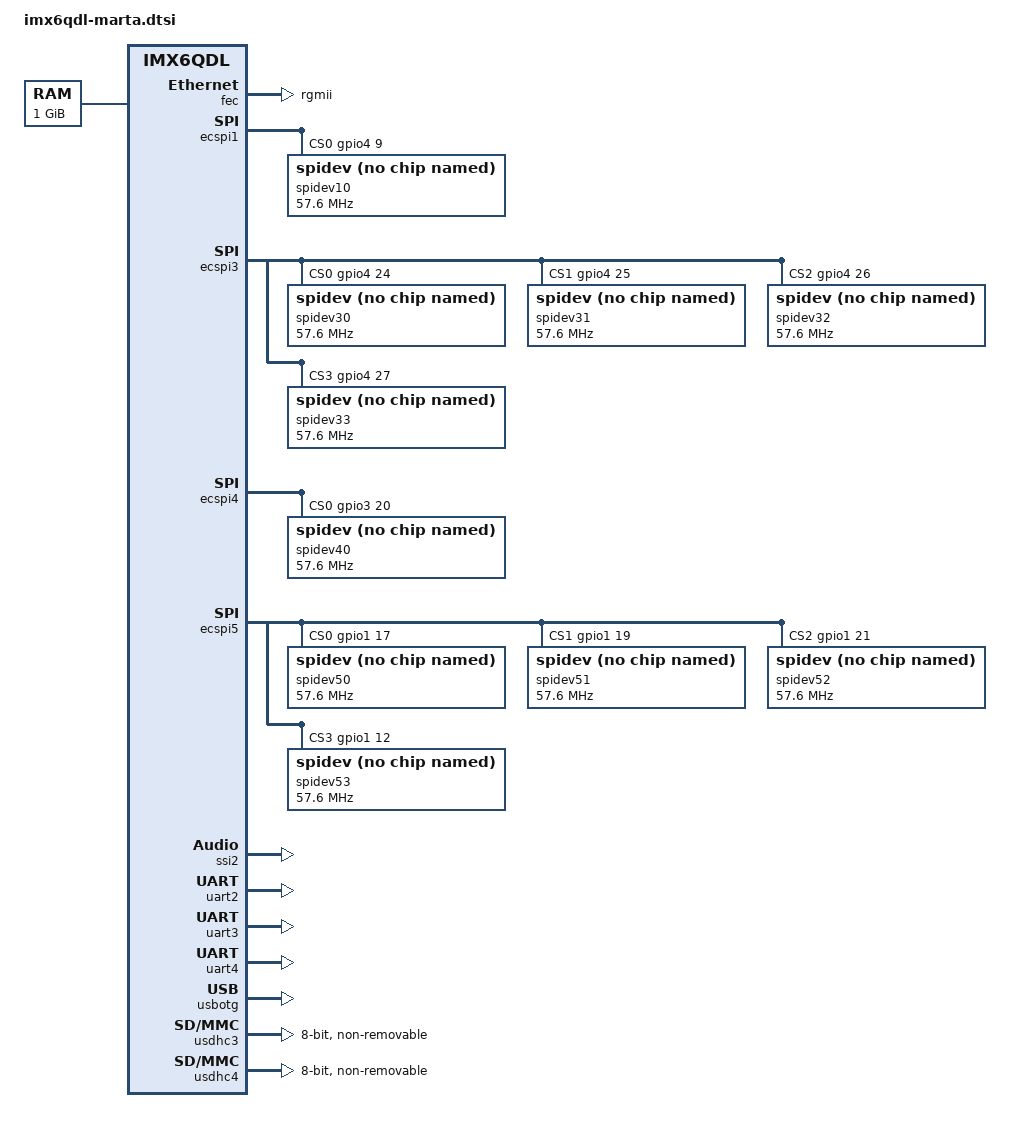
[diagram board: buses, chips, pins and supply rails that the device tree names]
/*
 * Copyright 2012 Freescale Semiconductor, Inc.
 * Copyright 2011 Linaro Ltd.
 *
 * The code contained herein is licensed under the GNU General Public
 * License. You may obtain a copy of the GNU General Public License
 * Version 2 or later at the following locations:
 *
 * http://www.opensource.org/licenses/gpl-license.html
 * http://www.gnu.org/copyleft/gpl.html
 */

/ {
	aliases {
		//mxcfb0 = &mxcfb1;
		//mxcfb1 = &mxcfb2;
		//mxcfb2 = &mxcfb3;
		//mxcfb3 = &mxcfb4;
		ecspi1 = &ecspi1;
		ecspi3 = &ecspi3;
		ecspi4 = &ecspi4;
		ecspi5 = &ecspi5;
	};

	memory {
		reg = <0x10000000 0x40000000>;
	};

//	regulators {
//		compatible = "simple-bus";
//		
//		reg_usb_h1_vbus: usb_h1_vbus {
//			compatible = "regulator-fixed";
//			regulator-name = "usb_h1_vbus";
//			regulator-min-microvolt = <5000000>;
//			regulator-max-microvolt = <5000000>;
//			gpio = <&gpio1 29 0>;
//			enable-active-high;
//		};
//
//		reg_audio: wm8962_supply {
//			compatible = "regulator-fixed";
//			regulator-name = "wm8962-supply";
//			gpio = <&gpio4 10 0>;
//			enable-active-high;
//		};
//
//		reg_mipi_dsi_pwr_on: mipi_dsi_pwr_on {
//			compatible = "regulator-fixed";
//			regulator-name = "mipi_dsi_pwr_on";
//			gpio = <&gpio6 14 0>;
//			enable-active-high;
//		};
//
//		reg_sensor: sensor_supply {
//			compatible = "regulator-fixed";
//			regulator-name = "sensor-supply";
//			regulator-min-microvolt = <3300000>;
//			regulator-max-microvolt = <3300000>;
//			gpio = <&gpio2 31 0>;
//			startup-delay-us = <500>;
//			enable-active-high;
//		};
//	};

	//mxcfb1: fb@0 {
		//compatible = "fsl,mxc_sdc_fb";
		//disp_dev = "ldb";
		//interface_pix_fmt = "RGB666";
		//mode_str ="LDBXGA";
		//default_bpp = <16>;
		//int_clk = <0>;
		//late_init = <0>;
		//status = "disabled";
	//};
	
	//mxcfb2: fb@1 {
		//compatible = "fsl,mxc_sdc_fb";
		//disp_dev = "ldb";
		//interface_pix_fmt = "RGB666";
		//mode_str ="LDBXGA";
		//default_bpp = <16>;
		//int_clk = <0>;
		//late_init = <0>;
		//status = "disabled";
	//};

	//mxcfb3: fb@2 {
		//compatible = "fsl,mxc_sdc_fb";
		//disp_dev = "hdmi";
		//interface_pix_fmt = "RGB24";
		//mode_str ="1920x1080@60p";
		//default_bpp = <32>;
		//int_clk = <0>;
		//late_init = <0>;
		//status = "disabled";
	//};

	//mxcfb4: fb@3 {
		//compatible = "fsl,mxc_sdc_fb";
		//disp_dev = "lcd";
		//interface_pix_fmt = "RGB565";
		//mode_str ="CLAA-WVGA";
		//default_bpp = <16>;
		//int_clk = <0>;
		//late_init = <0>;
		//status = "disabled";
	//};
	
	//pwm-backlight1 {
		//compatible = "pwm-backlight";
		//pwms = <&pwm1 0 5000000>;
		//brightness-levels = <0 4 8 16 32 64 128 255>;
		//default-brightness-level = <7>;
	//};
	
	//pwm-backlight2 {
		//compatible = "pwm-backlight";
		//pwms = <&pwm2 0 5000000>;
		//brightness-levels = <0 4 8 16 32 64 128 255>;
		//default-brightness-level = <7>;
	//};

	//pwm-backlight3 {
		//compatible = "pwm-backlight";
		//pwms = <&pwm3 0 5000000>;
		//brightness-levels = <0 4 8 16 32 64 128 255>;
		//default-brightness-level = <7>;
	//};

	//pwm-backlight4 {
		//compatible = "pwm-backlight";
		//pwms = <&pwm4 0 5000000>;
		//brightness-levels = <0 4 8 16 32 64 128 255>;
		//default-brightness-level = <7>;
	//};


	//v4l2_cap_0 {
		//compatible = "fsl,imx6q-v4l2-capture";
		//ipu_id = <0>;
		//csi_id = <0>;
		//mclk_source = <0>;
		//status = "okay";
	//};

	//v4l2_out {
		//compatible = "fsl,mxc_v4l2_output";
		//status = "okay";
	//};

//	mipi_dsi_reset: mipi-dsi-reset {
//		compatible = "gpio-reset";
//		reset-gpios = <&gpio6 11 GPIO_ACTIVE_LOW>;
//		reset-delay-us = <50>;
//		#reset-cells = <0>;
//	};
};

//&audmux {
//        pinctrl-names = "default";
//        pinctrl-0 = <&pinctrl_audmux_1>;
//        status = "okay";
//};

&cpu0 {
	arm-supply = <&sw1a_reg>;
	soc-supply = <&sw1c_reg>;
	pu-supply = <&pu_dummy>; /* use pu_dummy if VDDSOC share with VDDPU */
};

&fec {
	pinctrl-names = "default";
	pinctrl-0 = <&pinctrl_enet_1>;
	phy-mode = "rgmii";
	//phy-reset-gpios = <&gpio1 25 0>;
	//local-mac-address = [00 04 9F 01 1B B9];
	status = "okay";
};

&gpc {
	fsl,cpu_pupscr_sw2iso = <0xf>;
	fsl,cpu_pupscr_sw = <0xf>;
	fsl,cpu_pdnscr_iso2sw = <0x1>;
	fsl,cpu_pdnscr_iso = <0x1>;
	fsl,ldo-bypass = <1>; /* use ldo-bypass, u-boot will check it and configure */
	fsl,wdog-reset = <2>; /* watchdog select of reset source */
	pu-supply = <&pu_dummy>; /* ldo-bypass:use pu_dummy if VDDSOC share with VDDPU */
};

&gpu {
	pu-supply = <&pu_dummy>; /* ldo-bypass:use pu_dummy if VDDSOC share with VDDPU */
};

//&hdmi_audio {
	//status = "disabled";
//};

//&hdmi_cec {
	//pinctrl-names = "default";
	//pinctrl-0 = <&pinctrl_hdmi_cec_1>;
	//status = "disabled";
//};

//&hdmi_core {
	//ipu_id = <0>;
	//disp_id = <1>;
	//status = "disabled";
//};

//&hdmi_video {
	//fsl,phy_reg_vlev = <0x0294>;
	//fsl,phy_reg_cksymtx = <0x800d>;
	//status = "disabled";
//};

//&i2c1 {
	//clock-frequency = <100000>;
	//pinctrl-names = "default";
	//pinctrl-0 = <&pinctrl_i2c1_1>;
	//status = "disabled";
//};

//&i2c2 {
	//clock-frequency = <100000>;
	//pinctrl-names = "default";
	//pinctrl-0 = <&pinctrl_i2c2_1>;

	//status = "okay";
	
	//TODO: check it
	//hdmi: edid@50 {
		//compatible = "fsl,imx6-hdmi-i2c";
		//reg = <0x50>;
		//status = "disabled";
	//};
	
	//camera: adv7180@21 {
		//compatible = "adv,adv7180";
		//reg = <0x21>;
		//pinctrl-names = "default";
        //pinctrl-0 = <&pinctrl_ipu1_1>;
		//clocks = <&clks 201>;
        //clock-names = "csi_mclk";
        //pwn-gpios = <&gpio1 16 1>;   /* active low: SD1_DAT0 */
        //rst-gpios = <&gpio1 20 0>;   /* active high: SD1_CLK */
        //csi_id = <0>;
        //mclk = <24000000>;
        //mclk_source = <0>;
        //cvbs = <1>;
	//};

	//bq32000: rtc@68 {
		//compatible = "ti,bq32000";
		//trickle-resistor-ohms = <1120>;
		//reg = <0x68>;
	//};
//};


//&i2c3 {
//        clock-frequency = <100000>;
//        pinctrl-names = "default";
//		pinctrl-0 = <&pinctrl_i2c3_1>;
//        status = "okay";
//};

&ecspi1 {
  fsl,spi-num-chipselects = <1>;
  cs-gpios = <&gpio4 9 0>;	//active high
  pinctrl-names = "default";
  pinctrl-0 = <&pinctrl_ecspi1_1>;
  status = "okay";
  spidev10@0 {
        compatible = "spidev";
        spi-max-frequency = <57600000>;
         reg = <0>;
        };
};

&ecspi3 {
  fsl,spi-num-chipselects = <4>;
  cs-gpios = <&gpio4 24 0>, <&gpio4 25 0>, <&gpio4 26 0>, <&gpio4 27 0>;
  pinctrl-names = "default";
  pinctrl-0 = <&pinctrl_ecspi3_1>;
  status = "okay";
  spidev30@0 {
        compatible = "spidev";
        spi-max-frequency = <57600000>;
         reg = <0>;
        };
  spidev31@0 {
        compatible = "spidev";
        spi-max-frequency = <57600000>;
         reg = <1>;
        };
   spidev32@0 {
        compatible = "spidev";
        spi-max-frequency = <57600000>;
         reg = <2>;
        };
   spidev33@0 {
        compatible = "spidev";
        spi-max-frequency = <57600000>;
         reg = <3>;
        };
};

&ecspi4 {
  fsl,spi-num-chipselects = <1>;
  cs-gpios = <&gpio3 20 0>;	//active high
  pinctrl-names = "default";
  pinctrl-0 = <&pinctrl_ecspi4_1>;
  status = "okay";
  spidev40@0 {
        compatible = "spidev";
        spi-max-frequency = <57600000>;
         reg = <0>;
        };
};

&ecspi5 {
  fsl,spi-num-chipselects = <4>;
  cs-gpios = <&gpio1 17 0>, <&gpio1 19 0>, <&gpio1 21 0>, <&gpio1 12 0>;
  pinctrl-names = "default";
  pinctrl-0 = <&pinctrl_ecspi5_1>;
  status = "okay";
  spidev50@0 {
        compatible = "spidev";
        spi-max-frequency = <57600000>;
         reg = <0>;
        };
  spidev51@0 {
        compatible = "spidev";
        spi-max-frequency = <57600000>;
         reg = <1>;
        };
   spidev52@0 {
        compatible = "spidev";
        spi-max-frequency = <57600000>;
         reg = <2>;
        };
   spidev53@0 {
        compatible = "spidev";
        spi-max-frequency = <57600000>;
         reg = <3>;
        };
};

&iomuxc {
	pinctrl-names = "default";
	pinctrl-0 = <&pinctrl_hog_1>;

	hog {
		pinctrl_hog_1: hoggrp-1 {
			fsl,pins = <
				//GPIO OUTPUT
				MX6QDL_PAD_EIM_LBA__GPIO2_IO27 0x4001F0B0 //SPARE_1_OUT_CPU - 59
				MX6QDL_PAD_EIM_RW__GPIO2_IO26  0x4001F0B0 //SPARE_2_OUT_CPU - 58
				MX6QDL_PAD_EIM_A23__GPIO6_IO06 0x4001F0B0 //SPARE_3_OUT_CPU - 166
				MX6QDL_PAD_EIM_A16__GPIO2_IO22 0x4001F0B0 //EASAU_CPU - 54
				MX6QDL_PAD_EIM_A17__GPIO2_IO21 0x4001F0B0 //EEO_CPU - 53
				MX6QDL_PAD_EIM_A18__GPIO2_IO20 0x4001F0B0 //ESS_CPU - 52
				MX6QDL_PAD_EIM_A19__GPIO2_IO19 0x4001F0B0 //EPA_CPU - 51
				MX6QDL_PAD_EIM_A20__GPIO2_IO18 0x4001F0B0 //EDB_CPU - 50
				MX6QDL_PAD_EIM_A21__GPIO2_IO17 0x4001F0B0 //EFB_CPU - 49
				MX6QDL_PAD_EIM_A22__GPIO2_IO16 0x4001F0B0 //EAB_CPU - 48
				MX6QDL_PAD_EIM_A24__GPIO5_IO04 0x4001F0B0 //INH_SORVOLO_CPU - 132
				MX6QDL_PAD_EIM_EB2__GPIO2_IO30 0x4001F0B0 //EBT_CPU - 62
				MX6QDL_PAD_EIM_EB3__GPIO2_IO31 0x4001F0B0 //INH_G_SWITCH_CPU - 63
				MX6QDL_PAD_EIM_WAIT__GPIO5_IO00 0x4001F0B0 //BIT_L_CPU - 128
				MX6QDL_PAD_EIM_EB0__GPIO2_IO28 0x4001F0B0 //EBT_SK_CPU - 60
				MX6QDL_PAD_DI0_DISP_CLK__GPIO4_IO16	0x4001F0B0 //SKR_PWR_CTR_CPU - 112
				MX6QDL_PAD_DISP0_DAT8__GPIO4_IO29 0x4001F0B0 //CMD_CONSENSOFUOCO_CPU - 125
				MX6QDL_PAD_DISP0_DAT9__GPIO4_IO30 0x4001F0B0 //CMD_FMP_INT_CPU - 126
				MX6QDL_PAD_DISP0_DAT11__GPIO5_IO05 0x4001F0B0 //SENS_D00_CPU - 133
				MX6QDL_PAD_DISP0_DAT12__GPIO5_IO06 0x4001F0B0 //SENS_D01_CPU - 134
				MX6QDL_PAD_DISP0_DAT16__GPIO5_IO10 0x4001F0B0 //ID_00_CPU - 138
				MX6QDL_PAD_DISP0_DAT17__GPIO5_IO11 0x4001F0B0 //ID_01_CPU - 139
				MX6QDL_PAD_KEY_ROW2__GPIO4_IO11 0x4001F0B0 //TFUEL_RANGE_SLC - 107
				MX6QDL_PAD_GPIO_0__GPIO1_IO00 0x4001F0B0 //MAINT_SK_CPU - 0
				MX6QDL_PAD_GPIO_9__GPIO1_IO09 0x4001F0B0 //SEL_ANT_CPU - 9
				MX6QDL_PAD_GPIO_16__GPIO7_IO11 0x4001F0B0 //RESET_L_CPU - 203
				MX6QDL_PAD_GPIO_17__GPIO7_IO12 0x4001F0B0 //CMD_SPIRA_CPU - 204
				MX6QDL_PAD_NANDF_WP_B__GPIO6_IO09 0x4001F0B0 //IMX6_SPARE_LED - 169
				MX6QDL_PAD_NANDF_D4__GPIO2_IO04 0x4001F0B0 //SAFE_SPOLETTA_CPU - 36
				MX6QDL_PAD_NANDF_D5__GPIO2_IO05 0x4001F0B0 //ENABLE_DL_CPU - 37
				MX6QDL_PAD_NANDF_D6__GPIO2_IO06 0x4001F0B0 //ESA_CPU - 38
				MX6QDL_PAD_NANDF_D7__GPIO2_IO07 0x4001F0B0 //ESF_CPU - 39
				MX6QDL_PAD_SD2_DAT1__GPIO1_IO14 0x4001F0B0 //OK_CPU - 14
				MX6QDL_PAD_SD2_DAT2__GPIO1_IO13 0x4001F0B0 //GO_SW_CPU - 13
				
				MX6QDL_PAD_CSI0_DAT19__GPIO6_IO05 0x4001F0B0 //IT_SL_1 - 165
				MX6QDL_PAD_DISP0_DAT21__GPIO5_IO15 0x4001F0B0 //IT_SL_2 143
				MX6QDL_PAD_DISP0_DAT22__GPIO5_IO16 0x4001F0B0 //IT_SL_3 - 144
				MX6QDL_PAD_DISP0_DAT23__GPIO5_IO17 0x4001F0B0 //IT_SL_4 - 145
				MX6QDL_PAD_ENET_RX_ER__GPIO1_IO24 0x4001F0B0 //IT_SL_5 - 24
				MX6QDL_PAD_ENET_TX_EN__GPIO1_IO28 0x4001F0B0 //IT_SL_6 - 28
				MX6QDL_PAD_ENET_RXD0__GPIO1_IO27 0x4001F0B0 //IT_SL_7 - 27
				MX6QDL_PAD_ENET_TXD0__GPIO1_IO30 0x4001F0B0 //IT_SL_8 - 30
				MX6QDL_PAD_ENET_TXD1__GPIO1_IO29 0x4001F0B0 //IT_SL_10 - 29
				MX6QDL_PAD_GPIO_5__GPIO1_IO05 0x4001F0B0 //ARM_EVENTI - 5
				MX6QDL_PAD_CSI0_PIXCLK__GPIO5_IO18 0x4001F0B0 //ARM_EVENTO - 146
				MX6QDL_PAD_CSI0_MCLK__GPIO5_IO19 0x4001F0B0 //ARM_TRACE_CTL - 147
				MX6QDL_PAD_CSI0_DATA_EN__GPIO5_IO20 0x4001F0B0 //ARM_TRACE_CLK - 148
				MX6QDL_PAD_CSI0_VSYNC__GPIO5_IO21 0x4001F0B0 //ARM_TRACE_00 - 149
				MX6QDL_PAD_CSI0_DAT4__GPIO5_IO22 0x4001F0B0 //ARM_TRACE_01 - 150
				MX6QDL_PAD_CSI0_DAT5__GPIO5_IO23 0x4001F0B0 //ARM_TRACE_02 - 151
				MX6QDL_PAD_CSI0_DAT6__GPIO5_IO24 0x4001F0B0 //ARM_TRACE_03 - 152
				MX6QDL_PAD_CSI0_DAT7__GPIO5_IO25 0x4001F0B0 //ARM_TRACE_04 - 153
				MX6QDL_PAD_CSI0_DAT8__GPIO5_IO26 0x4001F0B0 //ARM_TRACE_05 - 154
				MX6QDL_PAD_CSI0_DAT9__GPIO5_IO27 0x4001F0B0 //ARM_TRACE_06 - 155
				MX6QDL_PAD_CSI0_DAT10__GPIO5_IO28 0x4001F0B0 //ARM_TRACE_07 - 156
				MX6QDL_PAD_CSI0_DAT11__GPIO5_IO29 0x4001F0B0 //ARM_TRACE_08 - 157
				MX6QDL_PAD_CSI0_DAT12__GPIO5_IO30 0x4001F0B0 //ARM_TRACE_09 - 158
				MX6QDL_PAD_CSI0_DAT13__GPIO5_IO31 0x4001F0B0 //ARM_TRACE_10 - 159
				MX6QDL_PAD_CSI0_DAT14__GPIO6_IO00 0x4001F0B0 //ARM_TRACE_11 - 160
				MX6QDL_PAD_CSI0_DAT15__GPIO6_IO01 0x4001F0B0 //ARM_TRACE_12 - 161
				MX6QDL_PAD_CSI0_DAT16__GPIO6_IO02 0x4001F0B0 //ARM_TRACE_13 - 162
				MX6QDL_PAD_CSI0_DAT17__GPIO6_IO03 0x4001F0B0 //ARM_TRACE_14 - 163
				MX6QDL_PAD_CSI0_DAT18__GPIO6_IO04 0x4001F0B0 //ARM_TRACE_15 - 164
				MX6QDL_PAD_KEY_ROW3__GPIO4_IO13 0x4001F0B0 //SPARE1_ARTIX7 - 109
				MX6QDL_PAD_NANDF_CS0__GPIO6_IO11  0x4001F0B0 //SPARE2_ARTIX7 - 171
				
			
				//GPIO INPUT
				MX6QDL_PAD_EIM_CS0__GPIO2_IO23 0x80000000 //SPARE_1_IN_CPU - 55
				MX6QDL_PAD_EIM_OE__GPIO2_IO25  0x80000000 //SPARE_2_IN_CPU - 57
				MX6QDL_PAD_EIM_CS1__GPIO2_IO24 0x80000000 //SPARE_3_IN_CPU - 56
				MX6QDL_PAD_EIM_A25__GPIO5_IO02 0x80000000 //OK_TH_CPU - 130
				MX6QDL_PAD_EIM_D29__GPIO3_IO29 0x80000000 //CK_PLUG_0_CPU - 93
				MX6QDL_PAD_EIM_D30__GPIO3_IO30 0x80000000 //CK_PLUG_1_CPU - 94
				MX6QDL_PAD_EIM_BCLK__GPIO6_IO31 0x80000000 //LOOPBACK_SIGNAL_CPU - 191
				
				MX6QDL_PAD_DI0_PIN2__GPIO4_IO18 0x80000000 //OK_SPOLETTA_CPU - 114
				MX6QDL_PAD_DI0_PIN3__GPIO4_IO19 0x80000000 //OK_DL_CPU - 115
				MX6QDL_PAD_DI0_PIN4__GPIO4_IO20 0x80000000 //OK_PS_TH_CPU - 116
				MX6QDL_PAD_DI0_PIN15__GPIO4_IO17 0x80000000 //OK_GPS_CPU - 113
				MX6QDL_PAD_DISP0_DAT7__GPIO4_IO28 0x80000000 //STATUS_ANT_CPU - 124
				MX6QDL_PAD_DISP0_DAT10__GPIO4_IO31 0x80000000 //OK_PS_SWRF_CPU - 127
				MX6QDL_PAD_DISP0_DAT13__GPIO5_IO07 0x80000000 //FUS_BT1_CPU - 135
				MX6QDL_PAD_DISP0_DAT14__GPIO5_IO08 0x80000000 //FUS_BT2_CPU - 136
				MX6QDL_PAD_DISP0_DAT15__GPIO5_IO09 0x80000000 //FAILSAFE_ENABLE_CPU - 137
				MX6QDL_PAD_DISP0_DAT18__GPIO5_IO12 0x80000000 //MAINT_SEL_CPU - 140
				MX6QDL_PAD_DISP0_DAT19__GPIO5_IO13 0x80000000 //OK_BT_SK_PSB_CPU - 141
				MX6QDL_PAD_DISP0_DAT20__GPIO5_IO14 0x80000000 //OK_PS_WCU_CPU - 142
				
				MX6QDL_PAD_KEY_COL1__GPIO4_IO08 0x80000000 //FUS_SK_CPU - 104
				MX6QDL_PAD_KEY_COL2__GPIO4_IO10 0x80000000 //PB_SX_CPU - 106
				
				MX6QDL_PAD_GPIO_2__GPIO1_IO02 0x80000000 //TELLBACKBT1_CPU - 2
				MX6QDL_PAD_GPIO_4__GPIO1_IO04 0x80000000 //CTR_TELLBACKBT2_CPU - 4
				MX6QDL_PAD_GPIO_7__GPIO1_IO07 0x80000000 //CK_BT2_CPU - 7
				MX6QDL_PAD_GPIO_8__GPIO1_IO08 0x80000000 //TB2_CPU - 8
				MX6QDL_PAD_GPIO_18__GPIO7_IO13 0x80000000 //TELLBACKBT2_CPU - 205
				MX6QDL_PAD_GPIO_19__GPIO4_IO05 0x80000000 //T0_OMB_CPU - 101
				
				MX6QDL_PAD_NANDF_CS1__GPIO6_IO14 0x80000000 //TERMINATE_CMD_1_CPU - 174
				MX6QDL_PAD_NANDF_CS2__GPIO6_IO15 0x80000000 //TERMINATE_CMD_2_CPU - 175
				MX6QDL_PAD_NANDF_CS3__GPIO6_IO16 0x80000000 //SENSOR_CPU - 176
				
				MX6QDL_PAD_NANDF_RB0__GPIO6_IO10 0x80000000 //CK_PRES_BT2_CPU - 170
				MX6QDL_PAD_NANDF_D0__GPIO2_IO00 0x80000000 //TIMER_SWITCH_CPU - 32
				MX6QDL_PAD_NANDF_D1__GPIO2_IO01 0x80000000 //STATO_D1_CPU - 33
				MX6QDL_PAD_NANDF_D2__GPIO2_IO02 0x80000000 //STATO_D2_CPU - 34
				MX6QDL_PAD_NANDF_D3__GPIO2_IO03 0x80000000 //PB_DX_CPU - 35
				
				MX6QDL_PAD_SD2_CMD__GPIO1_IO11 0x80000000 //GO_HW_CPU - 11
				MX6QDL_PAD_SD2_CLK__GPIO1_IO10 0x80000000 //GO_NOGO_MSL_CPU - 10
				MX6QDL_PAD_SD2_DAT0__GPIO1_IO15 0x80000000 //GO_NOGO_UA_CPU - 15
				
				
				
				//BOOT CFG
				MX6QDL_PAD_EIM_EB1__GPIO2_IO29 0x80000000 //BOOT_CFG_EIM_EB1
				MX6QDL_PAD_EIM_DA0__GPIO3_IO00 0x80000000 //BOOT_CFG_EIM_DA0
				MX6QDL_PAD_EIM_DA1__GPIO3_IO01 0x80000000 //BOOT_CFG_EIM_DA1
				MX6QDL_PAD_EIM_DA2__GPIO3_IO02 0x80000000 //BOOT_CFG_EIM_DA2
				MX6QDL_PAD_EIM_DA3__GPIO3_IO03 0x80000000 //BOOT_CFG_EIM_DA3
				MX6QDL_PAD_EIM_DA4__GPIO3_IO04 0x80000000 //BOOT_CFG_EIM_DA4
				MX6QDL_PAD_EIM_DA5__GPIO3_IO05 0x80000000 //BOOT_CFG_EIM_DA5
				MX6QDL_PAD_EIM_DA6__GPIO3_IO06 0x80000000 //BOOT_CFG_EIM_DA6
				MX6QDL_PAD_EIM_DA7__GPIO3_IO07 0x80000000 //BOOT_CFG_EIM_DA7
				MX6QDL_PAD_EIM_DA8__GPIO3_IO08 0x80000000 //BOOT_CFG_EIM_DA8
				MX6QDL_PAD_EIM_DA9__GPIO3_IO09 0x80000000 //BOOT_CFG_EIM_DA9
				MX6QDL_PAD_EIM_DA10__GPIO3_IO10 0x80000000 //BOOT_CFG_EIM_DA10
				MX6QDL_PAD_EIM_DA11__GPIO3_IO11 0x80000000 //BOOT_CFG_EIM_DA11
				MX6QDL_PAD_EIM_DA12__GPIO3_IO12 0x80000000 //BOOT_CFG_EIM_DA12
				MX6QDL_PAD_EIM_DA13__GPIO3_IO13 0x80000000 //BOOT_CFG_EIM_DA13
				MX6QDL_PAD_EIM_DA14__GPIO3_IO14 0x80000000 //BOOT_CFG_EIM_DA14
				MX6QDL_PAD_EIM_DA15__GPIO3_IO15 0x80000000 //BOOT_CFG_EIM_DA15
				
				
			>;
		};
	};
};

//&ldb {
//	ipu_id = <1>;
//	disp_id = <1>;
//	ext_ref = <1>;
//	mode = "sep0";
//	sec_ipu_id = <1>;
//	sec_disp_id = <0>;
//	status = "okay";
//};

//&mipi_csi {
//	status = "okay";
//	ipu_id = <0>;
//	csi_id = <1>;
//	v_channel = <0>;
//	lanes = <2>;
//};

//&mipi_dsi {
//	dev_id = <0>;
//	disp_id = <1>;
//	lcd_panel = "TRULY-WVGA";
//	disp-power-on-supply = <&reg_mipi_dsi_pwr_on>;
//	resets = <&mipi_dsi_reset>;
//	status = "okay";
//};

//&pcie {
//	power-on-gpio = <&gpio3 19 0>;
//	reset-gpio = <&gpio7 12 0>;
//	status = "okay";
//};


//&pwm1 {
//	pinctrl-names = "default";
//	pinctrl-0 = <&pinctrl_pwm1_1>;
//	status = "okay";
//};

//&pwm2 {
//	pinctrl-names = "default";
//	pinctrl-0 = <&pinctrl_pwm2_1>;
//	status = "okay";
//};

//&pwm3 {
//	pinctrl-names = "default";
//	pinctrl-0 = <&pinctrl_pwm3_1>;
//	status = "okay";
//};

//&pwm4 {
//	pinctrl-names = "default";
//	pinctrl-0 = <&pinctrl_pwm4_1>;
//	status = "okay";
//};

&ssi2 {
	fsl,mode = "i2s-slave";
	status = "okay";
};

&uart2 {
	pinctrl-names = "default";
	pinctrl-0 = <&pinctrl_uart2_1>;
	status = "okay";
};

&uart3 {
	pinctrl-names = "default";
	pinctrl-0 = <&pinctrl_uart3_1>;
	status = "okay";
};

&uart4 {
	pinctrl-names = "default";
	pinctrl-0 = <&pinctrl_uart4_1>;
	status = "okay";
};

//&usbh1 {
//	vbus-supply = <&reg_usb_h1_vbus>;
//	disable-over-current;
//	status = "okay";
//};

&usbotg {
	pinctrl-names = "default";
	pinctrl-0 = <&pinctrl_usbotg_1>;
	disable-over-current;
	status = "okay";
};

&usdhc3 {
	pinctrl-names = "default";
	pinctrl-0 = <&pinctrl_usdhc3_1>;
	bus-width = <8>;
    non-removable;
    no-1-8-v;
	keep-power-in-suspend;
    status = "okay";
};

&usdhc4 {
    pinctrl-names = "default";
    pinctrl-0 = <&pinctrl_usdhc4_1>;
    bus-width = <8>;
    non-removable;
    no-1-8-v;
	keep-power-in-suspend;
    status = "okay";
};

&vpu {
	pu-supply = <&pu_dummy>; /* ldo-bypass:use pu_dummy if VDDSOC share with VDDPU */
};

